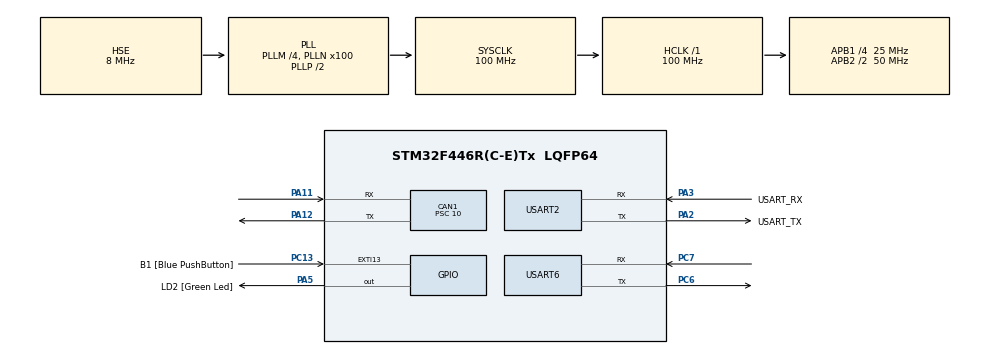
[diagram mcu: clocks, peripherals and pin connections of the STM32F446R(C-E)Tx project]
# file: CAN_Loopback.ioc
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CAN1.BS1=CAN_BS1_15TQ
CAN1.BS2=CAN_BS2_4TQ
CAN1.CalculateBaudRate=125000
CAN1.CalculateTimeBit=8000
CAN1.CalculateTimeQuantum=400.0
CAN1.Mode=CAN_MODE_LOOPBACK
CAN1.NART=ENABLE
CAN1.Prescaler=10
CAN1.SJW=CAN_SJW_1TQ
Mcu.Family=STM32F4
Mcu.Name=STM32F446R(C-E)Tx
Mcu.Package=LQFP64
NVIC.PriorityGroup=NVIC_PRIORITYGROUP_0
PA11.Mode=CAN_Activate
PA11.Signal=CAN1_RX
PA12.Mode=CAN_Activate
PA12.Signal=CAN1_TX
PA13.GPIO_Label=TMS
PA13.Mode=Serial_Wire
PA13.Signal=SYS_JTMS-SWDIO
PA14.GPIO_Label=TCK
PA14.Mode=Serial_Wire
PA14.Signal=SYS_JTCK-SWCLK
PA2.GPIO_Label=USART_TX
PA2.Mode=Asynchronous
PA2.Signal=USART2_TX
PA3.GPIO_Label=USART_RX
PA3.Mode=Asynchronous
PA3.Signal=USART2_RX
PA5.GPIO_Label=LD2 [Green Led]
PA5.Signal=GPIO_Output
PB3.GPIO_Label=SWO
PB3.Signal=SYS_JTDO-SWO
PC13.GPIO_Label=B1 [Blue PushButton]
PC13.GPIO_ModeDefaultEXTI=GPIO_MODE_IT_FALLING
PC13.Signal=GPXTI13
PC14-OSC32_IN.Mode=LSE-External-Oscillator
PC14-OSC32_IN.Signal=RCC_OSC32_IN
PC15-OSC32_OUT.Mode=LSE-External-Oscillator
PC15-OSC32_OUT.Signal=RCC_OSC32_OUT
PC6.Mode=Asynchronous
PC6.Signal=USART6_TX
PC7.Mode=Asynchronous
PC7.Signal=USART6_RX
PH0-OSC_IN.Mode=HSE-External-Clock-Source
PH0-OSC_IN.Signal=RCC_OSC_IN
PH1-OSC_OUT.Mode=HSE-External-Clock-Source
PH1-OSC_OUT.Signal=RCC_OSC_OUT
ProjectManager.HeapSize=0x200
ProjectManager.StackSize=0x400
ProjectManager.TargetToolchain=STM32CubeIDE
RCC.48MHZClocksFreq_Value=84000000
RCC.AHBFreq_Value=100000000
RCC.APB1CLKDivider=RCC_HCLK_DIV4
RCC.APB1Freq_Value=25000000
RCC.APB1TimFreq_Value=50000000
RCC.APB2CLKDivider=RCC_HCLK_DIV2
RCC.APB2Freq_Value=50000000
RCC.APB2TimFreq_Value=100000000
RCC.CortexFreq_Value=100000000
RCC.FLatency-AdvancedSettings=FLASH_LATENCY_3
RCC.HCLKFreq_Value=100000000
RCC.HSE_VALUE=8000000
RCC.HSI_VALUE=16000000
RCC.PLLM=4
RCC.PLLN=100
RCC.PLLSourceVirtual=RCC_PLLSOURCE_HSE
RCC.SYSCLKFreq_VALUE=100000000
RCC.SYSCLKSource=RCC_SYSCLKSOURCE_PLLCLK
RCC.USBFreq_Value=100000000
RCC.VCOOutputFreq_Value=200000000
USART2.VirtualMode=VM_ASYNC
USART6.VirtualMode=VM_ASYNC
board=NUCLEO-F446RE

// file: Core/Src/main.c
/* USER CODE BEGIN Header */
/**
  ******************************************************************************
  * @file           : main.c
  * @brief          : Main program body
  ******************************************************************************
  * @attention
  *
  * Copyright (c) 2022 STMicroelectronics.
  * All rights reserved.
  *
  * This software is licensed under terms that can be found in the LICENSE file
  * in the root directory of this software component.
  * If no LICENSE file comes with this software, it is provided AS-IS.
  *
  ******************************************************************************
  */
/* USER CODE END Header */
#include "main.h"

/* USER CODE BEGIN Includes */
#include <stdio.h>
#include <string.h>
/* USER CODE END Includes */

CAN_HandleTypeDef hcan1;

UART_HandleTypeDef huart2;
UART_HandleTypeDef huart6;

/* USER CODE BEGIN PV */
CAN_TxHeaderTypeDef CANTXHeader;
CAN_RxHeaderTypeDef CANRXHeader;
CAN_FilterTypeDef CANFilterInit;
/* USER CODE END PV */

void SystemClock_Config(void);
static void MX_GPIO_Init(void);
static void MX_USART2_UART_Init(void);
static void MX_CAN1_Init(void);
static void MX_USART6_UART_Init(void);
/* USER CODE BEGIN PFP */
void CAN1_TX(void);
void CAN1_RX(void);
void CAN1_filterConfig(void);
/* USER CODE END PFP */

int main(void)
{

  /* MCU Configuration--------------------------------------------------------*/

  /* Reset of all peripherals, Initializes the Flash interface and the Systick. */
  HAL_Init();

  /* Configure the system clock */
  SystemClock_Config();

  /* Initialize all configured peripherals */
  MX_GPIO_Init();
  MX_USART2_UART_Init();
  MX_CAN1_Init();
  MX_USART6_UART_Init();
  /* USER CODE BEGIN 2 */
  // Filter configuration
  CAN1_filterConfig();
  // This API move can from initialization mode to normal mode.
  HAL_CAN_Start(&hcan1);

  // Call function to request transmission.
  CAN1_TX();

  HAL_Delay(100);

  CAN1_RX();
  /* USER CODE END 2 */

  /* Infinite loop */
  /* USER CODE BEGIN WHILE */
  while (1)
  {
	  CAN1_TX();
	  CAN1_RX();

	  HAL_Delay(1000);
	  HAL_GPIO_TogglePin(LD2_GPIO_Port, LD2_Pin);
    /* USER CODE END WHILE */

  }
}

void SystemClock_Config(void)
{
  RCC_OscInitTypeDef RCC_OscInitStruct = {0};
  RCC_ClkInitTypeDef RCC_ClkInitStruct = {0};

  /** Configure the main internal regulator output voltage
  */
  __HAL_RCC_PWR_CLK_ENABLE();
  __HAL_PWR_VOLTAGESCALING_CONFIG(PWR_REGULATOR_VOLTAGE_SCALE3);
  /** Initializes the RCC Oscillators according to the specified parameters
  * in the RCC_OscInitTypeDef structure.
  */
  RCC_OscInitStruct.OscillatorType = RCC_OSCILLATORTYPE_HSE;
  RCC_OscInitStruct.HSEState = RCC_HSE_BYPASS;
  RCC_OscInitStruct.PLL.PLLState = RCC_PLL_ON;
  RCC_OscInitStruct.PLL.PLLSource = RCC_PLLSOURCE_HSE;
  RCC_OscInitStruct.PLL.PLLM = 4;
  RCC_OscInitStruct.PLL.PLLN = 100;
  RCC_OscInitStruct.PLL.PLLP = RCC_PLLP_DIV2;
  RCC_OscInitStruct.PLL.PLLQ = 2;
  RCC_OscInitStruct.PLL.PLLR = 2;
  if (HAL_RCC_OscConfig(&RCC_OscInitStruct) != HAL_OK)
  {
    Error_Handler();
  }
  /** Initializes the CPU, AHB and APB buses clocks
  */
  RCC_ClkInitStruct.ClockType = RCC_CLOCKTYPE_HCLK|RCC_CLOCKTYPE_SYSCLK
                              |RCC_CLOCKTYPE_PCLK1|RCC_CLOCKTYPE_PCLK2;
  RCC_ClkInitStruct.SYSCLKSource = RCC_SYSCLKSOURCE_PLLCLK;
  RCC_ClkInitStruct.AHBCLKDivider = RCC_SYSCLK_DIV1;
  RCC_ClkInitStruct.APB1CLKDivider = RCC_HCLK_DIV4;
  RCC_ClkInitStruct.APB2CLKDivider = RCC_HCLK_DIV2;

  if (HAL_RCC_ClockConfig(&RCC_ClkInitStruct, FLASH_LATENCY_3) != HAL_OK)
  {
    Error_Handler();
  }
}

static void MX_CAN1_Init(void)
{

  hcan1.Instance = CAN1;
  hcan1.Init.Prescaler = 10;
  hcan1.Init.Mode = CAN_MODE_LOOPBACK;
  hcan1.Init.SyncJumpWidth = CAN_SJW_1TQ;
  hcan1.Init.TimeSeg1 = CAN_BS1_15TQ;
  hcan1.Init.TimeSeg2 = CAN_BS2_4TQ;
  hcan1.Init.TimeTriggeredMode = DISABLE;
  hcan1.Init.AutoBusOff = DISABLE;
  hcan1.Init.AutoWakeUp = DISABLE;
  hcan1.Init.AutoRetransmission = ENABLE;
  hcan1.Init.ReceiveFifoLocked = DISABLE;
  hcan1.Init.TransmitFifoPriority = DISABLE;
  if (HAL_CAN_Init(&hcan1) != HAL_OK)
  {
    Error_Handler();
  }

}

static void MX_USART2_UART_Init(void)
{

  huart2.Instance = USART2;
  huart2.Init.BaudRate = 115200;
  huart2.Init.WordLength = UART_WORDLENGTH_8B;
  huart2.Init.StopBits = UART_STOPBITS_1;
  huart2.Init.Parity = UART_PARITY_NONE;
  huart2.Init.Mode = UART_MODE_TX_RX;
  huart2.Init.HwFlowCtl = UART_HWCONTROL_NONE;
  huart2.Init.OverSampling = UART_OVERSAMPLING_16;
  if (HAL_UART_Init(&huart2) != HAL_OK)
  {
    Error_Handler();
  }

}

static void MX_USART6_UART_Init(void)
{

  huart6.Instance = USART6;
  huart6.Init.BaudRate = 115200;
  huart6.Init.WordLength = UART_WORDLENGTH_8B;
  huart6.Init.StopBits = UART_STOPBITS_1;
  huart6.Init.Parity = UART_PARITY_NONE;
  huart6.Init.Mode = UART_MODE_TX_RX;
  huart6.Init.HwFlowCtl = UART_HWCONTROL_NONE;
  huart6.Init.OverSampling = UART_OVERSAMPLING_16;
  if (HAL_UART_Init(&huart6) != HAL_OK)
  {
    Error_Handler();
  }

}

static void MX_GPIO_Init(void)
{
  GPIO_InitTypeDef GPIO_InitStruct = {0};

  /* GPIO Ports Clock Enable */
  __HAL_RCC_GPIOC_CLK_ENABLE();
  __HAL_RCC_GPIOH_CLK_ENABLE();
  __HAL_RCC_GPIOA_CLK_ENABLE();
  __HAL_RCC_GPIOB_CLK_ENABLE();

  /*Configure GPIO pin Output Level */
  HAL_GPIO_WritePin(LD2_GPIO_Port, LD2_Pin, GPIO_PIN_RESET);

  /*Configure GPIO pin : B1_Pin */
  GPIO_InitStruct.Pin = B1_Pin;
  GPIO_InitStruct.Mode = GPIO_MODE_IT_FALLING;
  GPIO_InitStruct.Pull = GPIO_NOPULL;
  HAL_GPIO_Init(B1_GPIO_Port, &GPIO_InitStruct);

  /*Configure GPIO pin : LD2_Pin */
  GPIO_InitStruct.Pin = LD2_Pin;
  GPIO_InitStruct.Mode = GPIO_MODE_OUTPUT_PP;
  GPIO_InitStruct.Pull = GPIO_NOPULL;
  GPIO_InitStruct.Speed = GPIO_SPEED_FREQ_LOW;
  HAL_GPIO_Init(LD2_GPIO_Port, &GPIO_InitStruct);

}

/* USER CODE BEGIN 4 */
void CAN1_TX(void)
{
	uint8_t msg[5] = {'H','e','l','l','o'};
	char msgToTerminal[100];

	// Mailbox
	uint32_t TXMailbox;

	// Init the header structure.
	CANTXHeader.DLC = 5;
	CANTXHeader.StdId = 0x65D;
	CANTXHeader.IDE = CAN_ID_STD;
	CANTXHeader.RTR = CAN_RTR_DATA;

	// Add message to the mailbox.
	if(HAL_CAN_AddTxMessage(&hcan1, &CANTXHeader, msg, &TXMailbox))
	{
		Error_Handler();
	}

	// Check if transmit is pending.
	while(HAL_CAN_IsTxMessagePending(&hcan1, TXMailbox));

	// Print msg to terminal to know successful transmission.
	sprintf(msgToTerminal, "CAN message transmitted successfully\r\n");
	HAL_UART_Transmit(&huart6, (uint8_t*)msgToTerminal, strlen(msgToTerminal), 2000);

}

void CAN1_RX(void)
{
	uint8_t RXBuffer[10];
	char msgToTerminal[100];

	// Check if the FIFO has data to read and waits until data is present.
	// The API returns the number of messgaes present in the FIFO.
	while(!HAL_CAN_GetRxFifoFillLevel(&hcan1, CAN_RX_FIFO0));

	if(HAL_CAN_GetRxMessage(&hcan1, CAN_RX_FIFO0, &CANRXHeader, RXBuffer))
	{
		Error_Handler();
	}

	// Print msg to terminal to know successful transmission.
	sprintf(msgToTerminal, "CAN message received: %s\r\n", RXBuffer);
	HAL_UART_Transmit(&huart6, (uint8_t*)msgToTerminal, strlen(msgToTerminal), 2000);
}

void CAN1_filterConfig(void)
{
	CANFilterInit.FilterActivation = ENABLE;
	CANFilterInit.FilterBank = 0;
	CANFilterInit.FilterFIFOAssignment = CAN_RX_FIFO0;
	CANFilterInit.FilterIdHigh = 0;
	CANFilterInit.FilterIdLow = 0;
	CANFilterInit.FilterMaskIdHigh = 0;
	CANFilterInit.FilterMaskIdLow = 0;
	CANFilterInit.FilterMode = CAN_FILTERMODE_IDMASK;
	CANFilterInit.FilterScale = CAN_FILTERSCALE_32BIT;
	CANFilterInit.SlaveStartFilterBank = 14;

	if(HAL_CAN_ConfigFilter(&hcan1, &CANFilterInit))
	{
		Error_Handler();
	}
}
/* USER CODE END 4 */

void Error_Handler(void)
{
  __disable_irq();
  while (1)
  {
  }
}
